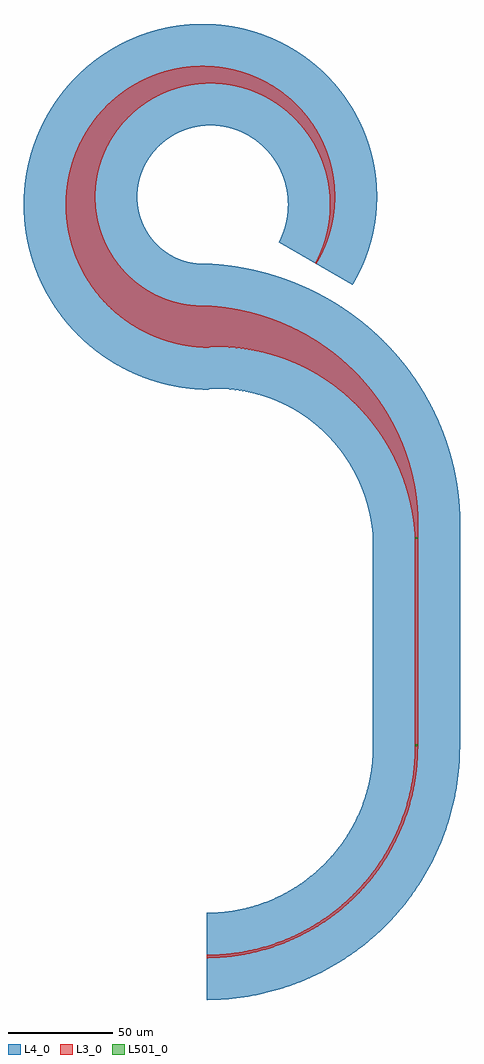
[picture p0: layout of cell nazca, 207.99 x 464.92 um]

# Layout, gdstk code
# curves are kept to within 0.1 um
from math import pi, radians
import gdstk
lib = gdstk.Library(unit=1e-6, precision=1e-09)
def R(c, l, rs):  # rectangles x0, y0, x1, y1
    for r in rs: c.add(gdstk.rectangle(r[:2], r[2:], *l))
def P(c, l, *ps):  # polygons
    for p in ps: c.add(gdstk.Polygon(p, *l))
L3_0 = (3, 0)
L4_0 = (4, 0)
L501_0 = (501, 0)

viper_bend_53 = lib.new_cell('viper_bend_53')
P(viper_bend_53, L3_0, [(99.25,0),(99.099,5.481),(98.728,10.167),(98.136,14.829),(97.324,19.459),(96.101,24.804),(94.819,29.326),(93.324,33.782),(91.62,38.162),(89.373,43.164),(87.229,47.347),(84.889,51.423),(82.36,55.384),(79.645,59.221),(76.752,62.926),(73.687,66.489),(70.457,69.903),(67.068,73.16),(63.53,76.253),(59.848,79.175),(56.033,81.92),(52.092,84.481),(48.034,86.852),(43.868,89.029),(39.604,91.006),(35.251,92.779),(30.073,94.584),(24.804,96.101),(20.226,97.167),(15.603,98.016),(10.167,98.728),(5.481,99.099),(0,99.25),(0,100.75),(4.77,100.637),(10.32,100.22),(15.053,99.619),(19.753,98.795),(24.408,97.749),(29.769,96.252),(34.292,94.734),(38.739,93.005),(43.099,91.066),(47.362,88.924),(51.518,86.582),(56.221,83.605),(60.753,80.372),(64.49,77.406),(68.082,74.266),(72.08,70.393),(75.857,66.304),(78.911,62.639),(81.788,58.833),(84.482,54.895),(86.986,50.833),(89.66,45.952),(91.735,41.656),(93.896,36.526),(96.014,30.528),(97.553,25.179),(98.795,19.753),(99.735,14.267),(100.496,7.151),(100.75,0)])
P(viper_bend_53, L4_0, [(79.25,0),(78.895,7.495),(78.36,11.841),(77.712,15.538),(75.894,22.818),(73.396,29.894),(71.633,33.901),(69.947,37.255),(66.11,43.703),(63.596,47.288),(61.286,50.245),(56.259,55.816),(50.728,60.887),(47.288,63.596),(44.224,65.763),(37.806,69.651),(34.466,71.363),(30.472,73.157),(26.385,74.729),(22.818,75.894),(15.538,77.712),(11.841,78.36),(7.495,78.895),(0,79.25),(0,120.75),(7.62,120.509),(15.21,119.788),(22.739,118.59),(30.177,116.919),(37.495,114.781),(44.664,112.186),(51.654,109.144),(57.603,106.125),(63.376,102.782),(69.736,98.578),(75.818,93.98),(81.597,89.008),(87.051,83.682),(92.159,78.022),(96.899,72.05),(100.73,66.589),(105.202,59.271),(109.144,51.654),(112.535,43.777),(115.637,34.767),(117.813,26.471),(119.395,18.042),(120.446,8.571),(120.75,0)])

viper_bend_56 = lib.new_cell('viper_bend_56')
P(viper_bend_56, L3_0, [(99.25,0),(98.417,8.221),(96.907,16.303),(94.785,24.045),(91.932,31.833),(88.514,39.176),(84.435,46.301),(79.787,53.018),(74.512,59.394),(70.784,63.292),(66.966,66.861),(62.854,70.294),(58.932,73.221),(54.501,76.167),(50.055,78.776),(45.488,81.127),(40.544,83.327),(35.498,85.227),(30.649,86.745),(25.599,88.02),(20.646,88.979),(15.807,89.645),(10.671,90.065),(5.395,90.191),(0,90),(0,110),(5.346,109.583),(10.31,108.958),(15.566,108.042),(20.923,106.832),(26.034,105.407),(31.057,103.738),(35.979,101.831),(40.636,99.764),(45.328,97.405),(50.031,94.74),(54.441,91.943),(58.833,88.841),(62.922,85.638),(66.839,82.248),(70.81,78.444),(74.345,74.697),(77.789,70.664),(81.112,66.341),(84.198,61.864),(87.038,57.246),(89.626,52.5),(91.823,47.938),(93.849,43.135),(95.676,38.097),(97.362,32.517),(98.757,26.712),(99.808,20.854),(100.498,15.125),(100.909,7.471),(100.75,0)])
P(viper_bend_56, L4_0, [(79.25,0),(78.345,7.413),(76.72,14.775),(74.454,21.781),(71.555,28.492),(67.932,35.058),(63.715,41.192),(59.034,46.754),(53.702,51.957),(48.018,56.5),(41.863,60.492),(35.497,63.778),(28.567,66.514),(21.673,68.457),(14.565,69.708),(7.426,70.229),(0,70),(0,130),(7.742,129.417),(15.615,128.341),(23.188,126.833),(30.83,124.823),(38.504,122.285),(45.427,119.519),(52.338,116.273),(59.198,112.527),(66.126,108.156),(72.423,103.604),(78.112,98.949),(83.93,93.568),(89.381,87.848),(94.202,82.123),(98.995,75.653),(103.044,69.41),(107.421,61.57),(111.206,53.462),(114.568,44.579),(117.083,36.058),(119.035,27.028),(120.256,18.291),(120.839,9.52),(120.75,0)])

viper_bend_57 = lib.new_cell('viper_bend_57')
P(viper_bend_57, L3_0, [(2.912,-67.093),(9.265,-66.692),(15.717,-65.658),(22.224,-63.946),(28.383,-61.659),(34.307,-58.78),(40.087,-55.23),(45.363,-51.227),(49.986,-46.976),(54.44,-42.029),(58.304,-36.81),(61.581,-31.395),(64.427,-25.522),(66.712,-19.392),(68.453,-12.879),(69.536,-6.393),(70,0),(50,0),(49.992,-3.936),(49.641,-8.133),(48.937,-12.298),(47.959,-16.149),(46.582,-20.169),(44.926,-23.952),(42.962,-27.599),(40.78,-30.975),(37.281,-35.406),(33.501,-39.259),(29.103,-42.869),(24.435,-45.918),(19.447,-48.458),(14.195,-50.456),(8.738,-51.884),(2.912,-52.742)],
  [(2.912,-52.742),(-2.401,-52.955),(-7.678,-52.638),(-12.916,-51.794),(-18.061,-50.429),(-22.933,-48.608),(-27.621,-46.316),(-32.197,-43.491),(-36.484,-40.213),(-40.238,-36.718),(-43.836,-32.648),(-46.944,-28.347),(-49.696,-23.621),(-51.918,-18.763),(-53.665,-13.696),(-54.862,-8.753),(-55.645,-3.269),(-55.881,1.698),(-55.647,6.974),(-54.887,12.366),(-53.728,17.249),(-52.08,22.162),(-49.983,26.918),(-47.451,31.475),(-44.593,35.674),(-40.243,40.826),(-37.785,43.26),(-35.181,45.545),(-32.682,47.495),(-29.694,49.554),(-26.708,51.352),(-23.75,52.903),(-20.561,54.342),(-17.43,55.538),(-10.968,57.385),(-7.507,58.052),(-4.006,58.511),(-0.631,58.752),(2.912,58.795),(2.912,61.067),(-2.424,61.251),(-7.562,60.988),(-13.468,60.146),(-19.436,58.686),(-25.096,56.695),(-30.697,54.082),(-36.027,50.915),(-41.029,47.223),(-45.77,42.923),(-49.851,38.403),(-53.578,33.357),(-56.794,27.95),(-59.337,22.54),(-61.414,16.741),(-62.89,10.914),(-63.831,4.791),(-64.174,-1.244),(-63.917,-7.637),(-62.892,-14.654),(-62.046,-18.283),(-61.044,-21.7),(-59.73,-25.38),(-58.336,-28.671),(-55.096,-34.865),(-51.198,-40.694),(-46.566,-46.214),(-43.899,-48.899),(-41.208,-51.318),(-35.435,-55.705),(-31.172,-58.358),(-26.711,-60.685),(-21.913,-62.732),(-17.125,-64.351),(-12.048,-65.641),(-7.22,-66.483),(-1.983,-66.991),(2.912,-67.093)],
  [(2.912,58.795),(9.229,58.342),(15.784,57.137),(19.529,56.097),(22.914,54.923),(26.371,53.48),(29.875,51.745),(30.125,52.178),(25.999,54.514),(21.546,56.584),(17.23,58.192),(12.484,59.546),(7.79,60.487),(2.912,61.067)])
P(viper_bend_57, L4_0, [(2.915,-87.088),(7.006,-86.943),(11.335,-86.579),(15.418,-86.035),(19.7,-85.251),(23.72,-84.313),(27.914,-83.116),(32.048,-81.711),(35.899,-80.19),(39.886,-78.387),(43.58,-76.497),(47.381,-74.312),(51.073,-71.939),(54.645,-69.382),(57.912,-66.796),(63.907,-61.332),(66.793,-58.309),(69.683,-54.972),(74.697,-48.262),(76.965,-44.732),(79.177,-40.89),(81.096,-37.15),(82.93,-33.104),(85.847,-25.198),(87.084,-20.918),(88.059,-16.807),(88.878,-12.418),(89.452,-8.224),(90,0),(30,0),(30.042,-2.841),(29.803,-5.769),(29.296,-8.599),(28.494,-11.461),(27.477,-14.099),(26.215,-16.647),(24.67,-19.149),(22.885,-21.507),(20.874,-23.698),(18.654,-25.7),(16.31,-27.446),(13.876,-28.938),(11.228,-30.247),(8.698,-31.231),(5.916,-32.044),(2.915,-32.629)],
  [(2.915,-32.629),(-0.457,-32.948),(-3.924,-32.913),(-7.129,-32.555),(-10.386,-31.862),(-13.658,-30.811),(-16.664,-29.502),(-19.468,-27.946),(-22.269,-26.014),(-24.812,-23.862),(-27.086,-21.529),(-29.247,-18.831),(-31.046,-16.075),(-32.662,-12.978),(-33.938,-9.807),(-34.905,-6.51),(-35.551,-3.118),(-35.883,0.808),(-35.788,4.676),(-35.221,8.812),(-34.233,12.697),(-32.815,16.471),(-30.98,20.085),(-28.746,23.495),(-26.203,26.583),(-23.253,29.46),(-20.067,31.952),(-16.615,34.098),(-12.932,35.871),(-9.06,37.245),(-5.24,38.163),(-1.126,38.705),(2.915,38.805),(2.915,81.106),(-5.131,81.181),(-9.174,80.917),(-13.414,80.422),(-17.208,79.786),(-21.388,78.87),(-28.983,76.599),(-32.795,75.147),(-36.534,73.506),(-43.57,69.779),(-47.041,67.601),(-50.576,65.122),(-56.764,60.054),(-62.444,54.398),(-65.284,51.114),(-67.692,48.031),(-69.954,44.835),(-72.291,41.158),(-76.099,34.044),(-77.868,30.048),(-79.281,26.372),(-81.637,18.617),(-83.234,10.653),(-84.055,2.555),(-84.097,-5.382),(-83.797,-9.789),(-83.329,-13.742),(-82.135,-20.276),(-80.494,-26.495),(-78.301,-32.788),(-75.713,-38.7),(-72.678,-44.408),(-69.213,-49.878),(-65.337,-55.077),(-61.07,-59.976),(-56.601,-64.392),(-51.636,-68.615),(-46.544,-72.329),(-40.988,-75.777),(-35.177,-78.798),(-29.355,-81.292),(-23.356,-83.356),(-16.769,-85.076),(-11.856,-86.007),(-6.892,-86.654),(-2.12,-87.004),(2.915,-87.088)],
  [(2.915,38.805),(7.325,38.434),(11.461,37.619),(15.699,36.285),(19.875,34.424),(40.125,69.499),(35.918,71.889),(31.377,74.111),(26.698,76.046),(22.303,77.561),(17.412,78.923),(12.855,79.901),(7.821,80.667),(2.915,81.106)])

nazca = lib.new_cell('nazca')
R(nazca, L3_0, [(99.25,100,100.75,200)])
R(nazca, L4_0, [(79.25,100,120.75,200)])
P(nazca, L501_0, [(100,200),(99.25,199.25),(99.625,199.25),(99.625,198.95),(100.375,198.95),(100.375,199.25),(100.75,199.25)],
  [(100,100),(99.25,100.75),(99.625,100.75),(99.625,101.05),(100.375,101.05),(100.375,100.75),(100.75,100.75)])
nazca.add(gdstk.Reference(viper_bend_53, (0,100), rotation=radians(270)))
nazca.add(gdstk.Reference(viper_bend_56, (0,200), rotation=radians(359.9999)))
nazca.add(gdstk.Reference(viper_bend_57, (0.001,360), rotation=radians(270)))

lib.write_gds('nazca.gds')
